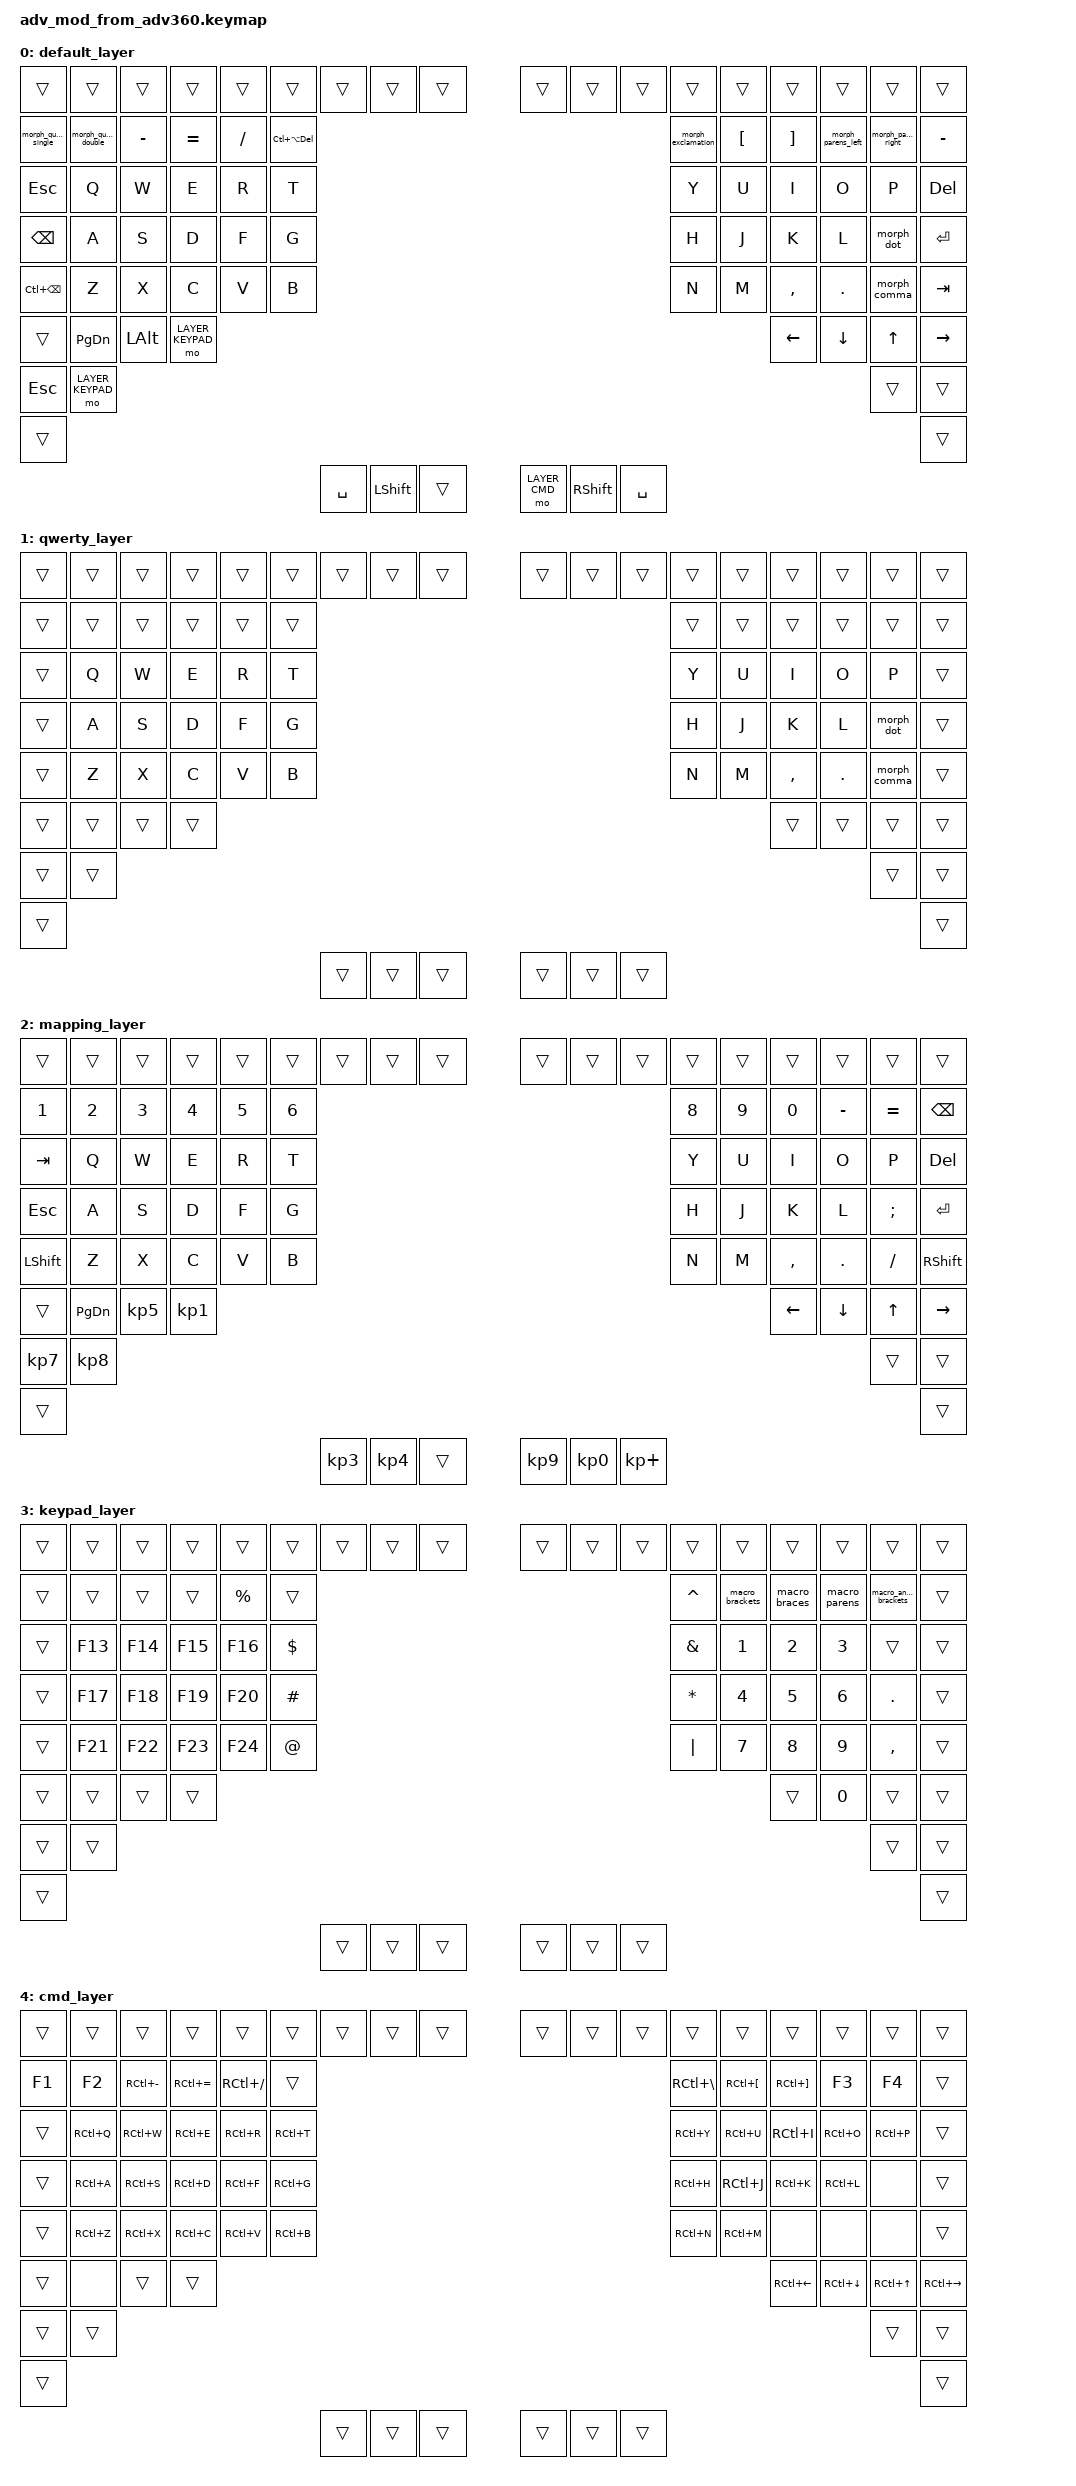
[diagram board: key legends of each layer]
/*
 * Copyright (c) 2020 The ZMK Contributors
 * 
 * SPDX-License-Identifier: MIT
 * 
 * ZMK keymap for Kinesis Advantage keyboards using Pillz Mod + Nice!Nano
 * Compatible with KLCM (Keyboard Layout Config Mapper)
 * 
 * Hardware: Kinesis Advantage with Pillz Mod Pro + Nice!Nano v2
 * Repository: https://github.com/masters3d/zmk-config-pillzmod-nicenano
 * Branch: cheyo
 */

#include <behaviors.dtsi>
#include <dt-bindings/zmk/keys.h>
#include <dt-bindings/zmk/bt.h>
#include <dt-bindings/zmk/outputs.h>

#define LAYER_KEYPAD 1
#define LAYER_CMD 2
#define LAYER_SYSTEM 3


/ {
    macros {
        macro_brackets: macro_brackets {
            compatible = "zmk,behavior-macro";
            label = "macro_brackets";
            #binding-cells = <0>;
            bindings = <&kp LBKT>, <&kp RBKT>, <&kp LEFT>;
        };

        macro_braces: macro_braces {
            compatible = "zmk,behavior-macro";
            label = "macro_braces";
            #binding-cells = <0>;
            bindings = <&kp LBRC>, <&kp RBRC>, <&kp LEFT>;
        };

        macro_parens: macro_parens {
            compatible = "zmk,behavior-macro";
            label = "macro_parens";
            #binding-cells = <0>;
            bindings = <&kp LPAR>, <&kp RPAR>, <&kp LEFT>;
        };

        macro_angle_brackets: macro_angle_brackets {
            compatible = "zmk,behavior-macro";
            label = "macro_angle_brackets";
            #binding-cells = <0>;
            bindings = <&kp LT>, <&kp GT>, <&kp LEFT>;
        };

    };

    behaviors {
        mo_key: behavior_mo_key {
            compatible = "zmk,behavior-hold-tap";
            label = "mo_key";
            #binding-cells = <2>;
            tapping-term-ms = <200>;
            quick_tap_ms = <175>;
            flavor = "tap-preferred";
            bindings = <&mo>, <&kp>;
        };

        hm: homerow_mods {
            compatible = "zmk,behavior-hold-tap";
            label = "HOMEROW_MODS";
            #binding-cells = <2>;
            tapping-term-ms = <200>;
            quick_tap_ms = <175>;
            flavor = "tap-preferred";
            bindings = <&kp>, <&kp>;
        };

        // &dot_override,
        morph_dot: morph_dot {
            compatible = "zmk,behavior-mod-morph";
            label = "MORPH_DOT";
            #binding-cells = <0>;
            bindings = <&kp PERIOD>, <&kp COLON>;
            mods = <(MOD_LSFT|MOD_RSFT)>;
        };

        // &comma_override,
        morph_comma: morph_comma {
            compatible = "zmk,behavior-mod-morph";
            label = "MORPH_COMMA";
            #binding-cells = <0>;
            bindings = <&kp COMMA>, <&kp SEMICOLON>;
            mods = <(MOD_LSFT|MOD_RSFT)>;
        };

        // &parens_left_override,
        morph_parens_left: morph_parens_left {
            compatible = "zmk,behavior-mod-morph";
            label = "MORPH_PARENS_LEFT";
            #binding-cells = <0>;
            bindings = <&kp LEFT_PARENTHESIS>, <&kp LESS_THAN>;
            mods = <(MOD_LSFT|MOD_RSFT)>;
        };

        // &parens_right_override,
        morph_parens_right: morph_parens_right {
            compatible = "zmk,behavior-mod-morph";
            label = "MORPH_PARENS_RIGHT";
            #binding-cells = <0>;
            bindings = <&kp RIGHT_PARENTHESIS>, <&kp GREATER_THAN>;
            mods = <(MOD_LSFT|MOD_RSFT)>;
        };

        // &exclamation_override,
        morph_exclamation: morph_exclamation {
            compatible = "zmk,behavior-mod-morph";
            label = "MORPH_EXCLAMATION";
            #binding-cells = <0>;
            bindings = <&kp BACKSLASH>, <&kp EXCLAMATION>;
            mods = <(MOD_LSFT|MOD_RSFT)>;
        };

        // &quote_single_override,
        morph_quote_single: morph_quote_single {
            compatible = "zmk,behavior-mod-morph";
            label = "MORPH_QUOTE_SINGLE";
            #binding-cells = <0>;
            bindings = <&kp SINGLE_QUOTE>, <&kp GRAVE>;
            mods = <(MOD_LSFT|MOD_RSFT)>;
        };

        // &quote_double_override,
        morph_quote_double: morph_quote_double {
            compatible = "zmk,behavior-mod-morph";
            label = "MORPH_QUOTE_DOUBLE";
            #binding-cells = <0>;
            bindings = <&kp DOUBLE_QUOTES>, <&kp TILDE>;
            mods = <(MOD_LSFT|MOD_RSFT)>;
        };

    };

    keymap {
        compatible = "zmk,keymap";

        default_layer {
            // Default layer - Main typing layer with custom modifications
            bindings = <
    &trans  &trans  &trans  &trans  &trans  &trans  &trans  &trans  &trans  &trans  &trans  &trans  &trans  &trans  &trans  &trans  &trans  &trans
    &morph_quote_single  &morph_quote_double  &kp MINUS  &kp EQUAL  &kp SLASH  &kp LC(LA(DEL))                                                     &morph_exclamation  &kp LBKT  &kp RBKT  &morph_parens_left  &morph_parens_right  &kp MINUS
    &kp ESC  &kp Q  &kp W  &kp E  &kp R  &kp T                                                     &kp Y  &kp U  &kp I  &kp O  &kp P  &kp DEL
    &kp BSPC  &kp A  &kp S  &kp D  &kp F  &kp G                                                     &kp H  &kp J  &kp K  &kp L  &morph_dot  &kp ENTER
    &kp LC(BSPC)  &kp Z  &kp X  &kp C  &kp V  &kp B                                                     &kp N  &kp M  &kp COMMA  &kp DOT  &morph_comma  &kp TAB
            &trans  &kp PAGE_DOWN  &kp LEFT_ALT  &mo LAYER_KEYPAD                                                                    &kp LEFT  &kp DOWN  &kp UP  &kp RIGHT
                                                  &kp ESCAPE  &mo LAYER_KEYPAD                                        &trans  &trans
                                                          &trans                                      &trans
                                        &kp SPACE  &kp LEFT_SHIFT  &trans                                        &mo LAYER_CMD  &kp RIGHT_SHIFT  &kp SPACE
            >;
        };

        qwerty_layer {
            // Layer 1: qwerty
            bindings = <
    &trans  &trans  &trans  &trans  &trans  &trans  &trans  &trans  &trans  &trans  &trans  &trans  &trans  &trans  &trans  &trans  &trans  &trans
    &trans  &trans  &trans  &trans  &trans  &trans                                                     &trans  &trans  &trans  &trans  &trans  &trans
    &trans  &kp Q  &kp W  &kp E  &kp R  &kp T                                                     &kp Y  &kp U  &kp I  &kp O  &kp P  &trans
    &trans  &kp A  &kp S  &kp D  &kp F  &kp G                                                     &kp H  &kp J  &kp K  &kp L  &morph_dot  &trans
    &trans  &kp Z  &kp X  &kp C  &kp V  &kp B                                                     &kp N  &kp M  &kp COMMA  &kp DOT  &morph_comma  &trans
            &trans  &trans  &trans  &trans                                                                    &trans  &trans  &trans  &trans
                                                  &trans  &trans                                        &trans  &trans
                                                          &trans                                      &trans
                                        &trans  &trans  &trans                                        &trans  &trans  &trans
            >;
        };

        mapping_layer {
            // Mapping layer - Key identity definitions for cross-keyboard translation
            bindings = <
    &trans  &trans  &trans  &trans  &trans  &trans  &trans  &trans  &trans  &trans  &trans  &trans  &trans  &trans  &trans  &trans  &trans  &trans
    &kp N1  &kp N2  &kp N3  &kp N4  &kp N5  &kp N6                                                     &kp N8  &kp N9  &kp N0  &kp MINUS  &kp EQUAL  &kp BSPC
    &kp TAB  &kp Q  &kp W  &kp E  &kp R  &kp T                                                     &kp Y  &kp U  &kp I  &kp O  &kp P  &kp DEL
    &kp ESC  &kp A  &kp S  &kp D  &kp F  &kp G                                                     &kp H  &kp J  &kp K  &kp L  &kp SEMI  &kp RET
    &kp LSHFT  &kp Z  &kp X  &kp C  &kp V  &kp B                                                     &kp N  &kp M  &kp COMMA  &kp DOT  &kp SLASH  &kp RSHFT
            &trans  &kp PG_DN  &kp KP_N5  &kp KP_N1                                                                    &kp LEFT  &kp DOWN  &kp UP  &kp RIGHT
                                                  &kp KP_N7  &kp KP_N8                                        &trans  &trans
                                                          &trans                                      &trans
                                        &kp KP_N3  &kp KP_N4  &trans                                        &kp KP_N9  &kp KP_N0  &kp KP_PLUS
            >;
        };

        keypad_layer {
            // Keypad layer - Number pad with symbols and macros for brackets/braces
            bindings = <
    &trans  &trans  &trans  &trans  &trans  &trans  &trans  &trans  &trans  &trans  &trans  &trans  &trans  &trans  &trans  &trans  &trans  &trans
    &trans  &trans  &trans  &trans  &kp PERCENT  &trans                                                     &kp CARET  &macro_brackets  &macro_braces  &macro_parens  &macro_angle_brackets  &trans
    &trans  &kp F13  &kp F14  &kp F15  &kp F16  &kp DOLLAR                                                     &kp AMPERSAND  &kp N1  &kp N2  &kp N3  &trans  &trans
    &trans  &kp F17  &kp F18  &kp F19  &kp F20  &kp POUND                                                     &kp STAR  &kp N4  &kp N5  &kp N6  &kp DOT  &trans
    &trans  &kp F21  &kp F22  &kp F23  &kp F24  &kp AT_SIGN                                                     &kp PIPE  &kp N7  &kp N8  &kp N9  &kp COMMA  &trans
            &trans  &trans  &trans  &trans                                                                    &trans  &kp N0  &trans  &trans
                                                  &trans  &trans                                        &trans  &trans
                                                          &trans                                      &trans
                                        &trans  &trans  &trans                                        &trans  &trans  &trans
            >;
        };

        cmd_layer {
            // CMD/FN layer - Control/Command key combinations for all keys
            bindings = <
    &trans  &trans  &trans  &trans  &trans  &trans  &trans  &trans  &trans  &trans  &trans  &trans  &trans  &trans  &trans  &trans  &trans  &trans
    &kp F1  &kp F2  &kp RC(MINUS)  &kp RC(EQUAL)  &kp RC(SLASH)  &trans                                                     &kp RC(BACKSLASH)  &kp RC(LEFT_BRACKET)  &kp RC(RIGHT_BRACKET)  &kp F3  &kp F4  &trans
    &trans  &kp RC(Q)  &kp RC(W)  &kp RC(E)  &kp RC(R)  &kp RC(T)                                                     &kp RC(Y)  &kp RC(U)  &kp RC(I)  &kp RC(O)  &kp RC(P)  &trans
    &trans  &kp RC(A)  &kp RC(S)  &kp RC(D)  &kp RC(F)  &kp RC(G)                                                     &kp RC(H)  &kp RC(J)  &kp RC(K)  &kp RC(L)  &none  &trans
    &trans  &kp RC(Z)  &kp RC(X)  &kp RC(C)  &kp RC(V)  &kp RC(B)                                                     &kp RC(N)  &kp RC(M)  &none  &none  &none  &trans
            &trans  &none  &trans  &trans                                                                    &kp RC(LEFT)  &kp RC(DOWN)  &kp RC(UP)  &kp RC(RIGHT)
                                                  &trans  &trans                                        &trans  &trans
                                                          &trans                                      &trans
                                        &trans  &trans  &trans                                        &trans  &trans  &trans
            >;
        };

    };
};
